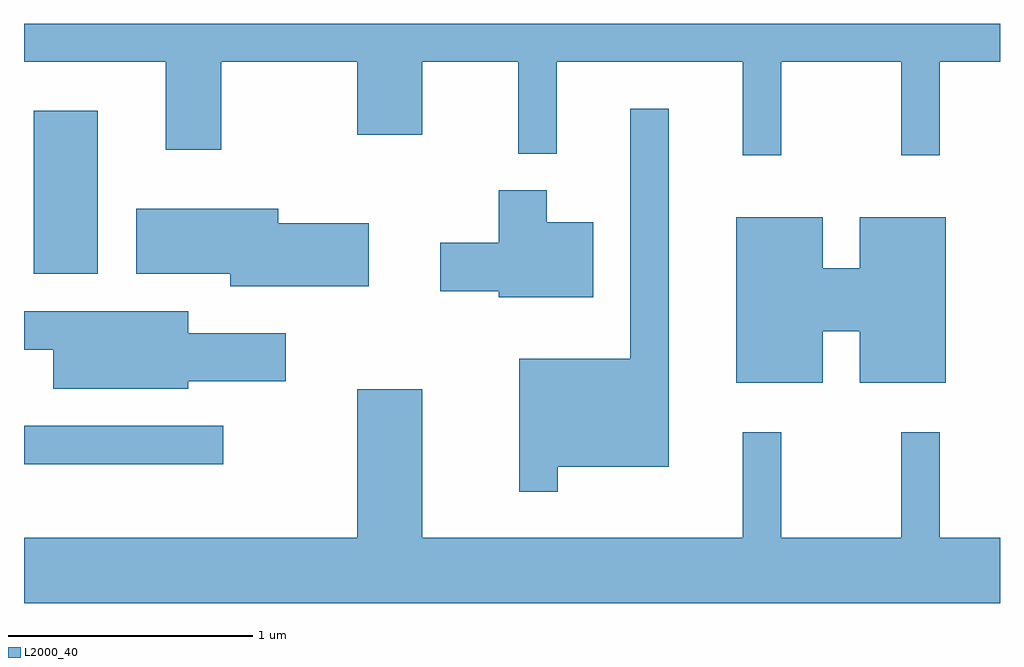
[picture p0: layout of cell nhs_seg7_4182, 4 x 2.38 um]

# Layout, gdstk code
import gdstk
lib = gdstk.Library(unit=1e-6, precision=1e-09)
def R(c, l, rs):  # rectangles x0, y0, x1, y1
    for r in rs: c.add(gdstk.rectangle(r[:2], r[2:], *l))
def P(c, l, *ps):  # polygons
    for p in ps: c.add(gdstk.Polygon(p, *l))
L2000_40 = (2000, 40)

nhs_seg7_4182 = lib.new_cell('nhs_seg7_4182')
R(nhs_seg7_4182, L2000_40, [(313.611,1710.446,314.428,1710.604), (313.651,1711.226,313.914,1711.894)])
P(nhs_seg7_4182, L2000_40, [(316.714,1712.096),(317.206,1712.096),(317.206,1711.713),(317.364,1711.713),(317.364,1712.096),(317.611,1712.096),(317.611,1712.252),(313.611,1712.252),(313.611,1712.096),(314.191,1712.096),(314.191,1711.736),(314.419,1711.736),(314.419,1712.096),(314.976,1712.096),(314.976,1711.796),(315.244,1711.796),(315.244,1712.096),(315.636,1712.096),(315.636,1711.718),(315.794,1711.718),(315.794,1712.096),(316.556,1712.096),(316.556,1711.713),(316.714,1711.713)],
  [(315.799,1710.436),(316.254,1710.436),(316.254,1711.903),(316.096,1711.903),(316.096,1710.879),(315.641,1710.879),(315.641,1710.333),(315.799,1710.333)],
  [(315.944,1711.439),(315.754,1711.439),(315.754,1711.569),(315.556,1711.569),(315.556,1711.354),(315.316,1711.354),(315.316,1711.156),(315.556,1711.156),(315.556,1711.131),(315.944,1711.131)],
  [(315.024,1711.434),(314.654,1711.434),(314.654,1711.494),(314.071,1711.494),(314.071,1711.226),(314.456,1711.226),(314.456,1711.176),(315.024,1711.176)],
  [(316.884,1710.991),(317.036,1710.991),(317.036,1710.781),(317.389,1710.781),(317.389,1711.459),(317.036,1711.459),(317.036,1711.249),(316.884,1711.249),(316.884,1711.459),(316.531,1711.459),(316.531,1710.781),(316.884,1710.781)],
  [(314.284,1710.786),(314.684,1710.786),(314.684,1710.984),(314.284,1710.984),(314.284,1711.074),(313.611,1711.074),(313.611,1710.916),(313.731,1710.916),(313.731,1710.756),(314.284,1710.756)],
  [(317.611,1710.144),(317.364,1710.144),(317.364,1710.578),(317.206,1710.578),(317.206,1710.144),(316.714,1710.144),(316.714,1710.578),(316.556,1710.578),(316.556,1710.144),(315.244,1710.144),(315.244,1710.754),(314.976,1710.754),(314.976,1710.144),(313.611,1710.144),(313.611,1709.876),(317.611,1709.876)])

lib.write_gds('nhs_seg7_4182.gds')
